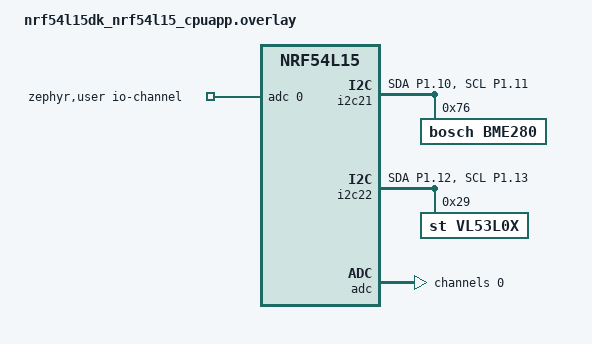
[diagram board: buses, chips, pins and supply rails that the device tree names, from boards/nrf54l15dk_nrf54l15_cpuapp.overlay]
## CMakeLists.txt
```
#
# Copyright (c) 2025 Nordic Semiconductor ASA
#
# SPDX-License-Identifier: LicenseRef-Nordic-5-Clause
#

cmake_minimum_required(VERSION 3.20.0)
find_package(Zephyr REQUIRED HINTS $ENV{ZEPHYR_BASE})
project(nRF54L15)

target_sources(app PRIVATE src/main.c)
```

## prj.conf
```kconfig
# DEBUG: parametr do logów czujników na serial monitor
CONFIG_LOG_SENSORS=y

# Podstawowa konfiguracja sprzętu
CONFIG_I2C=y
CONFIG_SENSOR=y
CONFIG_ADC=y
CONFIG_BME280=y
CONFIG_VL53L0X=y
CONFIG_LOG=y
CONFIG_CBPRINTF_FP_SUPPORT=y

# Bluetooth LE - Tryb Peryferyjny (Serwer)
CONFIG_BT=y
CONFIG_BT_PERIPHERAL=y
CONFIG_BT_DEVICE_NAME="nRF54L15"
CONFIG_BT_DEVICE_APPEARANCE=0

# NFC Type 2 Tag - URI redirect
CONFIG_NFC_T2T_NRFXLIB=y
CONFIG_NFC_NDEF=y
CONFIG_NFC_NDEF_MSG=y
CONFIG_NFC_NDEF_RECORD=y
CONFIG_NFC_NDEF_URI_MSG=y
CONFIG_NFC_NDEF_URI_REC=y

# Zwiększona pamięć dla stosu BT (dla bezpieczeństwa)
CONFIG_MAIN_STACK_SIZE=2048
CONFIG_SYSTEM_WORKQUEUE_STACK_SIZE=2048
```

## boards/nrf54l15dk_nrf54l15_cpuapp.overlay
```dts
#include <zephyr/dt-bindings/adc/adc.h>
#include <zephyr/dt-bindings/adc/nrf-saadc.h>

&pinctrl {
    my_i2c_pins: my_i2c_pins {
        group1 {
            psels = <NRF_PSEL(TWIM_SDA, 1, 10)>,
                    <NRF_PSEL(TWIM_SCL, 1, 11)>;
            bias-pull-up;
        };
    };

    my_i2c2_pins: my_i2c2_pins {
        group1 {
            psels = <NRF_PSEL(TWIM_SDA, 1, 12)>,
                    <NRF_PSEL(TWIM_SCL, 1, 13)>;
            bias-pull-up;
        };
    };
};

&i2c21 {
    status = "okay";
    pinctrl-0 = <&my_i2c_pins>;
    pinctrl-names = "default";

    bme280@76 {
        compatible = "bosch,bme280";
        reg = <0x76>;
    };
};

&i2c22 {
    status = "okay";
    pinctrl-0 = <&my_i2c2_pins>;
    pinctrl-names = "default";

    vl53l0x@29 {
        compatible = "st,vl53l0x";
        reg = <0x29>;
    };
};

/ {
    zephyr,user {
        io-channels = <&adc 0>;
    };
};

&adc {
    status = "okay";
    #address-cells = <1>;
    #size-cells = <0>;

    channel@0 {
        reg = <0>;
        zephyr,gain = "ADC_GAIN_1_4";
        zephyr,reference = "ADC_REF_INTERNAL";
        zephyr,acquisition-time = <ADC_ACQ_TIME_DEFAULT>;
        zephyr,resolution = <12>;
        zephyr,input-positive = <NRF_SAADC_AIN7>;
    };
};
```

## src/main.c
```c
#include <zephyr/kernel.h>
#include <zephyr/device.h>
#include <zephyr/devicetree.h>
#include <zephyr/drivers/sensor.h>
#include <zephyr/drivers/adc.h>
#include <zephyr/logging/log.h>
#include <zephyr/bluetooth/bluetooth.h>
#include <zephyr/bluetooth/hci.h>
#include <zephyr/bluetooth/conn.h>
#include <zephyr/bluetooth/uuid.h>
#include <zephyr/bluetooth/gatt.h>
#include <zephyr/sys/util.h>
#include <stdio.h>
#include <string.h>

#include <nfc_t2t_lib.h>
#include <nfc/ndef/uri_msg.h>

LOG_MODULE_REGISTER(main_app, LOG_LEVEL_INF);

#define SENSOR_LOG_INF(...)                 \
    do                                      \
    {                                       \
        if (IS_ENABLED(CONFIG_LOG_SENSORS)) \
        {                                   \
            LOG_INF(__VA_ARGS__);           \
        }                                   \
    } while (0)

/* Sensory */
const struct device *const bme280 = DEVICE_DT_GET_ANY(bosch_bme280);
const struct device *const vl53l0x = DEVICE_DT_GET_ANY(st_vl53l0x);

/* UUID Serwisu i Charakterystyki dla danych sensorów */
static struct bt_uuid_128 sensor_svc_uuid = BT_UUID_INIT_128(
    BT_UUID_128_ENCODE(0x12345678, 0x1234, 0x5678, 0x1234, 0x567812345678));

static struct bt_uuid_128 distance_char_uuid = BT_UUID_INIT_128(
    BT_UUID_128_ENCODE(0x12345678, 0x1234, 0x5678, 0x1234, 0x567812345679));

static struct bt_uuid_128 light_char_uuid = BT_UUID_INIT_128(
    BT_UUID_128_ENCODE(0x12345678, 0x1234, 0x5678, 0x1234, 0x56781234567A));

static struct bt_uuid_128 temp_char_uuid = BT_UUID_INIT_128(
    BT_UUID_128_ENCODE(0x12345678, 0x1234, 0x5678, 0x1234, 0x56781234567B));

static struct bt_uuid_128 humidity_char_uuid = BT_UUID_INIT_128(
    BT_UUID_128_ENCODE(0x12345678, 0x1234, 0x5678, 0x1234, 0x56781234567C));

static struct bt_uuid_128 pressure_char_uuid = BT_UUID_INIT_128(
    BT_UUID_128_ENCODE(0x12345678, 0x1234, 0x5678, 0x1234, 0x56781234567D));

static uint16_t last_distance_mm = 0;
static uint16_t last_light_lm = 0;
static int16_t last_temp_centi = 0;
static uint16_t last_humidity_centi = 0;
static uint32_t last_pressure_pa = 0;

#define LIGHT_ADC_MAX_RAW 4095U
#define LIGHT_MAX_LM 1000U
#define SENSOR_UPDATE_INTERVAL_MS 1000

#define NDEF_MSG_BUF_SIZE 256
static uint8_t ndef_msg_buf[NDEF_MSG_BUF_SIZE];
#define NFC_PAIR_URL_BASE "http://10.42.0.50/api/pair"
static char ble_mac_str[BT_ADDR_LE_STR_LEN] = "00:00:00:00:00:00";
static char nfc_pair_url[256];

static bool notify_distance_enabled;
static bool notify_temp_enabled;
static bool notify_humidity_enabled;
static bool notify_pressure_enabled;
static bool notify_light_enabled;

static bool sensor_distance_available;
static bool sensor_temp_available;
static bool sensor_humidity_available;
static bool sensor_pressure_available;
static bool sensor_light_available;

static const struct adc_dt_spec light_adc = ADC_DT_SPEC_GET_BY_IDX(DT_PATH(zephyr_user), 0);
static int16_t light_sample_buffer;

/* GATT: Odczyt dystansu */
static ssize_t read_distance(struct bt_conn *conn, const struct bt_gatt_attr *attr,
                             void *buf, uint16_t len, uint16_t offset)
{
    return bt_gatt_attr_read(conn, attr, buf, len, offset, &last_distance_mm, sizeof(last_distance_mm));
}

static ssize_t read_light(struct bt_conn *conn, const struct bt_gatt_attr *attr,
                          void *buf, uint16_t len, uint16_t offset)
{
    return bt_gatt_attr_read(conn, attr, buf, len, offset, &last_light_lm, sizeof(last_light_lm));
}

static ssize_t read_temp(struct bt_conn *conn, const struct bt_gatt_attr *attr,
                         void *buf, uint16_t len, uint16_t offset)
{
    return bt_gatt_attr_read(conn, attr, buf, len, offset, &last_temp_centi, sizeof(last_temp_centi));
}

static ssize_t read_humidity(struct bt_conn *conn, const struct bt_gatt_attr *attr,
                             void *buf, uint16_t len, uint16_t offset)
{
    return bt_gatt_attr_read(conn, attr, buf, len, offset, &last_humidity_centi, sizeof(last_humidity_centi));
}

static ssize_t read_pressure(struct bt_conn *conn, const struct bt_gatt_attr *attr,
                             void *buf, uint16_t len, uint16_t offset)
{
    return bt_gatt_attr_read(conn, attr, buf, len, offset, &last_pressure_pa, sizeof(last_pressure_pa));
}

static void distance_ccc_cfg_changed(const struct bt_gatt_attr *attr, uint16_t value)
{
    ARG_UNUSED(attr);
    notify_distance_enabled = (value == BT_GATT_CCC_NOTIFY);
}

static void temp_ccc_cfg_changed(const struct bt_gatt_attr *attr, uint16_t value)
{
    ARG_UNUSED(attr);
    notify_temp_enabled = (value == BT_GATT_CCC_NOTIFY);
}

static void humidity_ccc_cfg_changed(const struct bt_gatt_attr *attr, uint16_t value)
{
    ARG_UNUSED(attr);
    notify_humidity_enabled = (value == BT_GATT_CCC_NOTIFY);
}

static void pressure_ccc_cfg_changed(const struct bt_gatt_attr *attr, uint16_t value)
{
    ARG_UNUSED(attr);
    notify_pressure_enabled = (value == BT_GATT_CCC_NOTIFY);
}

static void light_ccc_cfg_changed(const struct bt_gatt_attr *attr, uint16_t value)
{
    ARG_UNUSED(attr);
    notify_light_enabled = (value == BT_GATT_CCC_NOTIFY);
}

static void nfc_callback(void *context, nfc_t2t_event_t event,
                         const uint8_t *data, size_t data_length)
{
    ARG_UNUSED(context);
    ARG_UNUSED(data);
    ARG_UNUSED(data_length);

    switch (event)
    {
    case NFC_T2T_EVENT_FIELD_ON:
        LOG_INF("NFC field detected");
        break;
    case NFC_T2T_EVENT_FIELD_OFF:
        LOG_INF("NFC field lost");
        break;
    default:
        break;
    }
}

static void append_sensor_name(char *buffer, size_t buffer_size,
                               const char *name, bool *first)
{
    size_t used = strlen(buffer);

    if (used >= buffer_size - 1)
    {
        return;
    }

    if (!(*first))
    {
        snprintf(buffer + used, buffer_size - used, ",");
        used = strlen(buffer);
        if (used >= buffer_size - 1)
        {
            return;
        }
    }

    snprintf(buffer + used, buffer_size - used, "%s", name);
    *first = false;
}

static void build_nfc_pair_url_from_available_sensors(void)
{
    char sensors_param[96] = {0};
    bool first = true;

    if (sensor_distance_available)
    {
        append_sensor_name(sensors_param, sizeof(sensors_param), "distance", &first);
    }
    if (sensor_temp_available)
    {
        append_sensor_name(sensors_param, sizeof(sensors_param), "temp", &first);
    }
    if (sensor_humidity_available)
    {
        append_sensor_name(sensors_param, sizeof(sensors_param), "humidity", &first);
    }
    if (sensor_pressure_available)
    {
        append_sensor_name(sensors_param, sizeof(sensors_param), "pressure", &first);
    }
    if (sensor_light_available)
    {
        append_sensor_name(sensors_param, sizeof(sensors_param), "light", &first);
    }

    if (first)
    {
        snprintf(nfc_pair_url, sizeof(nfc_pair_url), "%s?mac=%s&sensors=none",
                 NFC_PAIR_URL_BASE, ble_mac_str);
    }
    else
    {
        snprintf(nfc_pair_url, sizeof(nfc_pair_url), "%s?mac=%s&sensors=%s",
                 NFC_PAIR_URL_BASE, ble_mac_str, sensors_param);
    }
}

static void update_local_ble_mac(void)
{
    bt_addr_le_t addrs[CONFIG_BT_ID_MAX];
    size_t count = ARRAY_SIZE(addrs);
    char addr_le_str[BT_ADDR_LE_STR_LEN];
    char *type_sep;

    bt_id_get(addrs, &count);
    if (count == 0)
    {
        LOG_ERR("Cannot read local BLE identity address");
        return;
    }

    bt_addr_le_to_str(&addrs[0], addr_le_str, sizeof(addr_le_str));
    type_sep = strchr(addr_le_str, ' ');
    if (type_sep)
    {
        *type_sep = '\0';
    }

    snprintf(ble_mac_str, sizeof(ble_mac_str), "%s", addr_le_str);
    LOG_INF("Local BLE MAC: %s", ble_mac_str);
}

static int nfc_update_url_payload(void)
{
    int err;
    uint32_t len = sizeof(ndef_msg_buf);

    err = nfc_ndef_uri_msg_encode(NFC_URI_NONE,
                                  (const uint8_t *)nfc_pair_url,
                                  strlen(nfc_pair_url),
                                  ndef_msg_buf,
                                  &len);
    if (err)
    {
        LOG_ERR("NFC URI encode failed (%d)", err);
        return err;
    }

    err = nfc_t2t_payload_set(ndef_msg_buf, len);
    if (err)
    {
        LOG_ERR("NFC payload set failed (%d)", err);
        return err;
    }

    return 0;
}

static int nfc_init_url_tag(void)
{
    int err;

    err = nfc_t2t_setup(nfc_callback, NULL);
    if (err)
    {
        LOG_ERR("NFC setup failed (%d)", err);
        return err;
    }

    err = nfc_update_url_payload();
    if (err)
    {
        return err;
    }

    err = nfc_t2t_emulation_start();
    if (err)
    {
        LOG_ERR("NFC emulation start failed (%d)", err);
        return err;
    }

    LOG_INF("NFC URI ready: %s", nfc_pair_url);
    return 0;
}

static void detect_and_store_available_sensors(bool adc_ready)
{
    sensor_distance_available = device_is_ready(vl53l0x);

    sensor_temp_available = device_is_ready(bme280);
    sensor_humidity_available = sensor_temp_available;
    sensor_pressure_available = sensor_temp_available;

    sensor_light_available = adc_ready;

    SENSOR_LOG_INF("Sensors available: distance=%d temp=%d humidity=%d pressure=%d light=%d",
                   sensor_distance_available,
                   sensor_temp_available,
                   sensor_humidity_available,
                   sensor_pressure_available,
                   sensor_light_available);
}

/* Definicja serwisu GATT */
BT_GATT_SERVICE_DEFINE(sensor_svc,
                       BT_GATT_PRIMARY_SERVICE(&sensor_svc_uuid),
                       BT_GATT_CHARACTERISTIC(&distance_char_uuid.uuid,
                                              BT_GATT_CHRC_READ | BT_GATT_CHRC_NOTIFY,
                                              BT_GATT_PERM_READ,
                                              read_distance, NULL, &last_distance_mm),
                       BT_GATT_CCC(distance_ccc_cfg_changed,
                                   BT_GATT_PERM_READ | BT_GATT_PERM_WRITE),
                       BT_GATT_CHARACTERISTIC(&temp_char_uuid.uuid,
                                              BT_GATT_CHRC_READ | BT_GATT_CHRC_NOTIFY,
                                              BT_GATT_PERM_READ,
                                              read_temp, NULL, &last_temp_centi),
                       BT_GATT_CCC(temp_ccc_cfg_changed,
                                   BT_GATT_PERM_READ | BT_GATT_PERM_WRITE),
                       BT_GATT_CHARACTERISTIC(&humidity_char_uuid.uuid,
                                              BT_GATT_CHRC_READ | BT_GATT_CHRC_NOTIFY,
                                              BT_GATT_PERM_READ,
                                              read_humidity, NULL, &last_humidity_centi),
                       BT_GATT_CCC(humidity_ccc_cfg_changed,
                                   BT_GATT_PERM_READ | BT_GATT_PERM_WRITE),
                       BT_GATT_CHARACTERISTIC(&pressure_char_uuid.uuid,
                                              BT_GATT_CHRC_READ | BT_GATT_CHRC_NOTIFY,
                                              BT_GATT_PERM_READ,
                                              read_pressure, NULL, &last_pressure_pa),
                       BT_GATT_CCC(pressure_ccc_cfg_changed,
                                   BT_GATT_PERM_READ | BT_GATT_PERM_WRITE),
                       BT_GATT_CHARACTERISTIC(&light_char_uuid.uuid,
                                              BT_GATT_CHRC_READ | BT_GATT_CHRC_NOTIFY,
                                              BT_GATT_PERM_READ,
                                              read_light, NULL, &last_light_lm),
                       BT_GATT_CCC(light_ccc_cfg_changed,
                                   BT_GATT_PERM_READ | BT_GATT_PERM_WRITE), );

/* Rozgłaszanie (Advertising) */
static const struct bt_data ad[] = {
    BT_DATA_BYTES(BT_DATA_FLAGS, (BT_LE_AD_GENERAL | BT_LE_AD_NO_BREDR)),
    BT_DATA_BYTES(BT_DATA_NAME_COMPLETE, 'n', 'R', 'F', '5', '4', 'L', '1', '5'),
};

static void bt_ready(int err)
{
    if (err)
    {
        LOG_ERR("Bluetooth init failed (err %d)", err);
        return;
    }
    LOG_INF("Bluetooth initialized");

    /* Używamy standardowego makra dla urządzeń połączalnych */
    err = bt_le_adv_start(BT_LE_ADV_CONN_FAST_1, ad, ARRAY_SIZE(ad), NULL, 0);

    if (err)
    {
        LOG_ERR("Advertising failed to start (err %d)", err);
        return;
    }
    LOG_INF("Advertising started");
}

int main(void)
{
    int err;
    int ret;
    int64_t last_update_ms;
    struct sensor_value distance;
    struct sensor_value temp;
    struct sensor_value humidity;
    struct sensor_value pressure;
    struct adc_sequence light_sequence = {
        .buffer = &light_sample_buffer,
        .buffer_size = sizeof(light_sample_buffer),
    };
    bool adc_ready = false;

    LOG_INF("Starting Bluetooth Sensor App on nRF54L15");

    /* Inicjalizacja BT */
    err = bt_enable(bt_ready);
    if (err)
    {
        LOG_ERR("Bluetooth enable failed (err %d)", err);
        return 0;
    }

    update_local_ble_mac();

    /* Sprawdzamy czy laser działa (nie zatrzymujemy programu jeśli nie, żeby BT działało) */
    if (!device_is_ready(vl53l0x))
    {
        LOG_ERR("VL53L0X nie jest gotowy. Sprawdz polaczenia na P1.12 i P1.13");
    }

    if (!device_is_ready(bme280))
    {
        LOG_ERR("BME280 nie jest gotowy. Sprawdz polaczenia na P1.10 i P1.11");
    }

    if (!adc_is_ready_dt(&light_adc))
    {
        LOG_ERR("ADC dla czujnika swiatla nie jest gotowy");
    }
    else
    {
        adc_ready = true;
        ret = adc_channel_setup_dt(&light_adc);
        if (ret < 0)
        {
            LOG_ERR("Blad konfiguracji ADC kanału: %d", ret);
            adc_ready = false;
        }

        light_sequence.channels = BIT(light_adc.channel_id);
        light_sequence.resolution = light_adc.resolution;
        light_sequence.oversampling = light_adc.oversampling;
    }

    detect_and_store_available_sensors(adc_ready);
    build_nfc_pair_url_from_available_sensors();

    err = nfc_init_url_tag();
    if (err)
    {
        LOG_ERR("NFC init error (%d), BLE sensor app will continue", err);
    }

    last_update_ms = k_uptime_get();

    while (1)
    {
        int64_t now_ms = k_uptime_get();

        if ((now_ms - last_update_ms) < SENSOR_UPDATE_INTERVAL_MS)
        {
            k_yield();
            continue;
        }

        last_update_ms = now_ms;

        if (device_is_ready(vl53l0x))
        {
            sensor_sample_fetch(vl53l0x);
            sensor_channel_get(vl53l0x, SENSOR_CHAN_DISTANCE, &distance);

            last_distance_mm = (uint16_t)(distance.val1 * 1000 + distance.val2 / 1000);
            SENSOR_LOG_INF("Distance: %d mm", last_distance_mm);

            /* Wypychamy powiadomienie (Notify) do połączonych urządzeń */
            if (notify_distance_enabled)
            {
                bt_gatt_notify_uuid(NULL, &distance_char_uuid.uuid, &sensor_svc.attrs[0],
                                    &last_distance_mm, sizeof(last_distance_mm));
            }
        }

        if (device_is_ready(bme280))
        {
            sensor_sample_fetch(bme280);
            sensor_channel_get(bme280, SENSOR_CHAN_AMBIENT_TEMP, &temp);
            sensor_channel_get(bme280, SENSOR_CHAN_HUMIDITY, &humidity);
            sensor_channel_get(bme280, SENSOR_CHAN_PRESS, &pressure);

            last_temp_centi = (int16_t)(temp.val1 * 100 + temp.val2 / 10000);
            last_humidity_centi = (uint16_t)(humidity.val1 * 100 + humidity.val2 / 10000);
            last_pressure_pa = (uint32_t)(pressure.val1 * 1000 + pressure.val2 / 1000);

            SENSOR_LOG_INF("Temp(cC): %d, Hum(c%%): %u, Press(Pa): %u",
                           last_temp_centi, last_humidity_centi, last_pressure_pa);
            if (notify_temp_enabled)
            {
                bt_gatt_notify_uuid(NULL, &temp_char_uuid.uuid, &sensor_svc.attrs[0],
                                    &last_temp_centi, sizeof(last_temp_centi));
            }
            if (notify_humidity_enabled)
            {
                bt_gatt_notify_uuid(NULL, &humidity_char_uuid.uuid, &sensor_svc.attrs[0],
                                    &last_humidity_centi, sizeof(last_humidity_centi));
            }
            if (notify_pressure_enabled)
            {
                bt_gatt_notify_uuid(NULL, &pressure_char_uuid.uuid, &sensor_svc.attrs[0],
                                    &last_pressure_pa, sizeof(last_pressure_pa));
            }
        }

        if (adc_is_ready_dt(&light_adc))
        {
            ret = adc_read_dt(&light_adc, &light_sequence);
            if (ret == 0)
            {
                int32_t raw = light_sample_buffer;

                if (raw < 0)
                {
                    raw = 0;
                }
                if (raw > LIGHT_ADC_MAX_RAW)
                {
                    raw = LIGHT_ADC_MAX_RAW;
                }

                last_light_lm = (uint16_t)((raw * LIGHT_MAX_LM) / LIGHT_ADC_MAX_RAW);
                SENSOR_LOG_INF("Light(lm): %u", last_light_lm);
                if (notify_light_enabled)
                {
                    bt_gatt_notify_uuid(NULL, &light_char_uuid.uuid, &sensor_svc.attrs[0],
                                        &last_light_lm, sizeof(last_light_lm));
                }
            }
            else
            {
                LOG_ERR("Blad odczytu ADC: %d", ret);
            }
        }
    }
    return 0;
}
```
